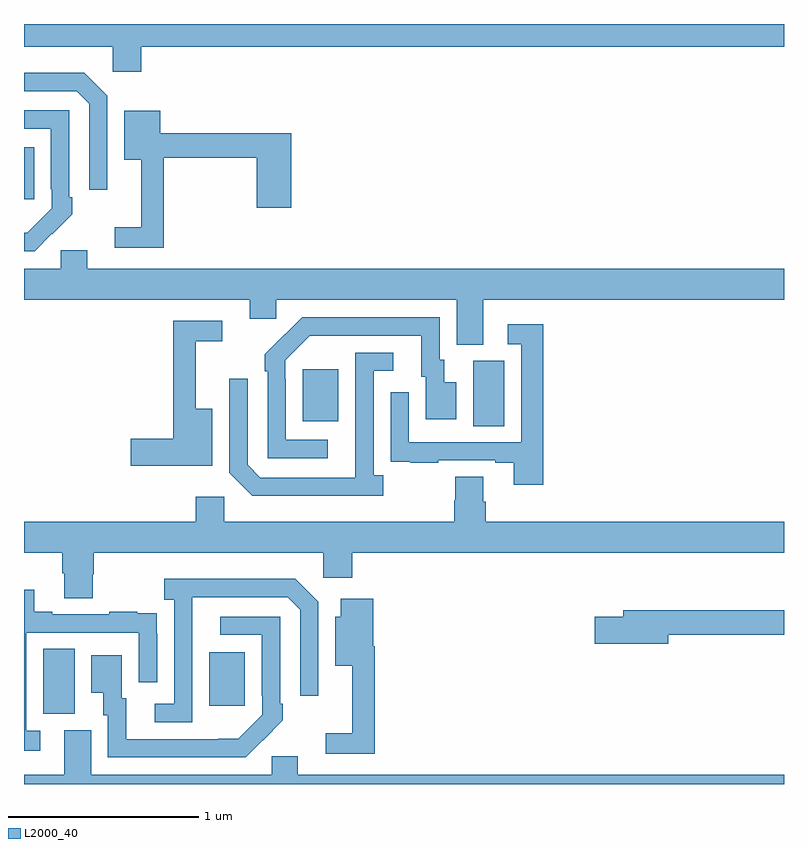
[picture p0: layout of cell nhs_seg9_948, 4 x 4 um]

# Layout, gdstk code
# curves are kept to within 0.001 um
import gdstk
lib = gdstk.Library(unit=1e-6, precision=1e-09)
def R(c, l, rs):  # rectangles x0, y0, x1, y1
    for r in rs: c.add(gdstk.rectangle(r[:2], r[2:], *l))
def P(c, l, *ps):  # polygons
    for p in ps: c.add(gdstk.Polygon(p, *l))
L2000_40 = (2000, 40)

nhs_seg9_948 = lib.new_cell('nhs_seg9_948')
R(nhs_seg9_948, L2000_40, [(161.102,1232.869,161.266,1233.212), (161.975,1232.913,162.163,1233.193), (163.364,1234.384,163.528,1234.728), (162.467,1234.409,162.655,1234.684), (161,1235.577,161.053,1235.851)])
P(nhs_seg9_948, L2000_40, [(161.618,1236.38),(165,1236.38),(165,1236.5),(161,1236.5),(161,1236.38),(161.466,1236.38),(161.466,1236.249),(161.618,1236.249)],
  [(161.439,1236.123),(161.318,1236.244),(161,1236.244),(161,1236.147),(161.277,1236.147),(161.343,1236.081),(161.343,1235.628),(161.439,1235.628)],
  [(161.147,1235.395),(161.148,1235.394),(161.253,1235.499),(161.253,1235.587),(161.238,1235.587),(161.238,1236.045),(161,1236.045),(161,1235.949),(161.142,1235.949),(161.142,1235.629),(161.145,1235.629),(161.145,1235.529),(161.017,1235.401),(161,1235.401),(161,1235.304),(161.056,1235.304)],
  [(161.735,1235.797),(162.224,1235.797),(162.224,1235.532),(162.407,1235.532),(162.407,1235.926),(161.716,1235.926),(161.716,1236.043),(161.528,1236.043),(161.528,1235.786),(161.618,1235.786),(161.618,1235.431),(161.478,1235.431),(161.478,1235.322),(161.735,1235.322)],
  [(163.417,1235.048),(165,1235.048),(165,1235.212),(161.332,1235.212),(161.332,1235.31),(161.193,1235.31),(161.193,1235.212),(161,1235.212),(161,1235.048),(162.188,1235.048),(162.188,1234.95),(162.327,1234.95),(162.327,1235.048),(163.277,1235.048),(163.277,1234.813),(163.417,1234.813)],
  [(162.598,1234.311),(162.378,1234.311),(162.378,1234.631),(162.375,1234.631),(162.375,1234.731),(162.504,1234.86),(163.091,1234.86),(163.091,1234.644),(163.115,1234.644),(163.115,1234.419),(163.276,1234.419),(163.276,1234.615),(163.213,1234.615),(163.213,1234.734),(163.188,1234.734),(163.188,1234.956),(162.464,1234.956),(162.267,1234.761),(162.267,1234.673),(162.282,1234.673),(162.282,1234.215),(162.598,1234.215)],
  [(161.992,1234.474),(161.903,1234.474),(161.903,1234.83),(162.043,1234.83),(162.043,1234.938),(161.785,1234.938),(161.785,1234.316),(161.562,1234.316),(161.562,1234.174),(161.992,1234.174)],
  [(163.733,1234.921),(163.545,1234.921),(163.545,1234.815),(163.617,1234.815),(163.617,1234.299),(163.026,1234.299),(163.026,1234.561),(162.93,1234.561),(162.93,1234.306),(162.931,1234.306),(162.931,1234.197),(163.033,1234.197),(163.033,1234.191),(163.181,1234.191),(163.181,1234.203),(163.481,1234.203),(163.481,1234.191),(163.577,1234.191),(163.577,1234.074),(163.733,1234.074)],
  [(162.892,1234.126),(162.84,1234.126),(162.84,1234.674),(162.943,1234.674),(162.943,1234.77),(162.744,1234.77),(162.743,1234.113),(162.243,1234.113),(162.177,1234.179),(162.177,1234.633),(162.081,1234.633),(162.081,1234.137),(162.202,1234.016),(162.892,1234.016)],
  [(161.361,1233.603),(161.366,1233.603),(161.366,1233.716),(162.576,1233.716),(162.576,1233.585),(162.728,1233.585),(162.728,1233.716),(165,1233.716),(165,1233.88),(163.43,1233.88),(163.43,1233.986),(163.417,1233.986),(163.417,1234.118),(163.27,1234.118),(163.27,1233.993),(163.265,1233.993),(163.265,1233.88),(162.054,1233.88),(162.054,1234.012),(161.903,1234.012),(161.903,1233.88),(161,1233.88),(161,1233.716),(161.201,1233.716),(161.201,1233.61),(161.213,1233.61),(161.213,1233.478),(161.361,1233.478)],
  [(161.886,1233.483),(162.387,1233.483),(162.453,1233.417),(162.453,1232.964),(162.549,1232.964),(162.549,1233.459),(162.428,1233.58),(161.739,1233.58),(161.739,1233.47),(161.79,1233.47),(161.79,1232.922),(161.688,1232.922),(161.688,1232.826),(161.886,1232.826)],
  [(161.086,1232.781),(161.013,1232.781),(161.013,1233.297),(161.604,1233.297),(161.604,1233.036),(161.7,1233.036),(161.7,1233.29),(161.699,1233.29),(161.699,1233.399),(161.597,1233.399),(161.597,1233.406),(161.449,1233.406),(161.449,1233.393),(161.149,1233.393),(161.149,1233.406),(161.053,1233.406),(161.053,1233.523),(161,1233.523),(161,1232.676),(161.086,1232.676)],
  [(162.845,1233.226),(162.839,1233.226),(162.839,1233.475),(162.668,1233.475),(162.668,1233.379),(162.638,1233.379),(162.638,1233.122),(162.728,1233.122),(162.728,1232.767),(162.588,1232.767),(162.588,1232.658),(162.845,1232.658)],
  [(164.392,1233.286),(165,1233.286),(165,1233.415),(164.153,1233.415),(164.153,1233.381),(164.004,1233.381),(164.004,1233.239),(164.392,1233.239)],
  [(162.257,1232.731),(162.258,1232.73),(162.363,1232.835),(162.363,1232.923),(162.348,1232.923),(162.348,1233.381),(162.033,1233.381),(162.033,1233.285),(162.252,1233.285),(162.252,1232.965),(162.255,1232.965),(162.255,1232.865),(162.127,1232.737),(161.539,1232.736),(161.539,1232.952),(161.515,1232.952),(161.515,1233.178),(161.354,1233.178),(161.354,1232.981),(161.417,1232.981),(161.417,1232.862),(161.442,1232.862),(161.442,1232.64),(162.166,1232.64)],
  [(165,1232.548),(162.442,1232.548),(162.442,1232.646),(162.303,1232.646),(162.303,1232.548),(161.353,1232.548),(161.353,1232.784),(161.213,1232.784),(161.213,1232.548),(161,1232.548),(161,1232.5),(165,1232.5)])

lib.write_gds('nhs_seg9_948.gds')
